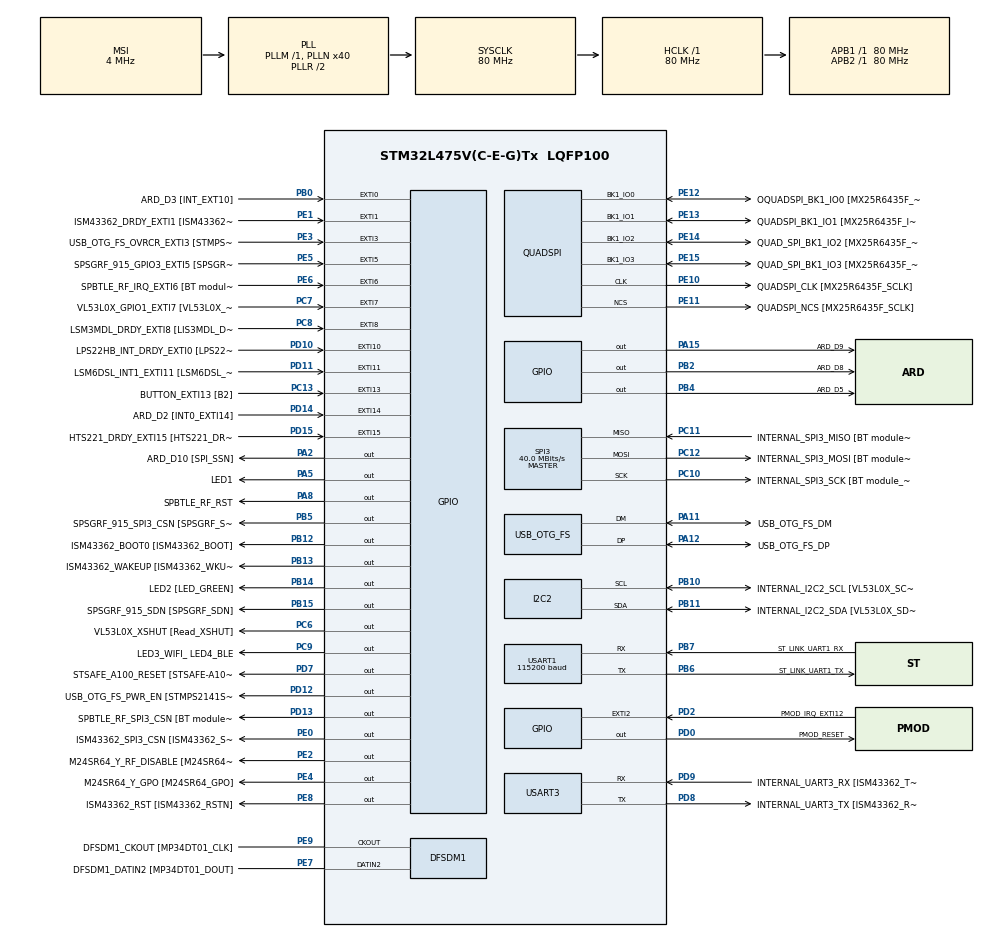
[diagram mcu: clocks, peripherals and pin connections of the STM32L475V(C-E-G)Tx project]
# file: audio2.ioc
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DFSDM1.Divider=17
DFSDM1.DmaMode_reg_FIL0=ENABLE
DFSDM1.FastMode_reg_FIL0=ENABLE
DFSDM1.Filter_regChannel_FIL0=DFSDM_CHANNEL_1
DFSDM1.Fosr_FIL0=128
DFSDM1.RightBitShift_CH1=0x05
DFSDM1.SincOrder_FIL0=DFSDM_FILTER_SINC4_ORDER
Dma.DFSDM1_FLT0.0.Direction=DMA_PERIPH_TO_MEMORY
Dma.DFSDM1_FLT0.0.Instance=DMA1_Channel4
Dma.DFSDM1_FLT0.0.MemDataAlignment=DMA_MDATAALIGN_HALFWORD
Dma.DFSDM1_FLT0.0.MemInc=DMA_MINC_ENABLE
Dma.DFSDM1_FLT0.0.Mode=DMA_CIRCULAR
Dma.DFSDM1_FLT0.0.PeriphDataAlignment=DMA_PDATAALIGN_HALFWORD
Dma.DFSDM1_FLT0.0.PeriphInc=DMA_PINC_DISABLE
Dma.DFSDM1_FLT0.0.Priority=DMA_PRIORITY_LOW
Dma.Request0=DFSDM1_FLT0
Dma.Request1=USART1_TX
Dma.USART1_TX.1.Direction=DMA_MEMORY_TO_PERIPH
Dma.USART1_TX.1.Instance=DMA2_Channel6
Dma.USART1_TX.1.MemDataAlignment=DMA_MDATAALIGN_BYTE
Dma.USART1_TX.1.MemInc=DMA_MINC_ENABLE
Dma.USART1_TX.1.Mode=DMA_NORMAL
Dma.USART1_TX.1.PeriphDataAlignment=DMA_PDATAALIGN_BYTE
Dma.USART1_TX.1.PeriphInc=DMA_PINC_DISABLE
Dma.USART1_TX.1.Priority=DMA_PRIORITY_LOW
I2C2.Timing=0x10909CEC
Mcu.Family=STM32L4
Mcu.Name=STM32L475V(C-E-G)Tx
Mcu.Package=LQFP100
NVIC.DMA1_Channel4_IRQn=true\:1\:0\:true\:false\:true\:false\:true\:true
NVIC.DMA2_Channel6_IRQn=true\:1\:0\:true\:false\:true\:false\:true\:true
NVIC.EXTI15_10_IRQn=true\:2\:0\:true\:false\:true\:true\:true\:true
NVIC.EXTI9_5_IRQn=true\:0\:0\:false\:false\:true\:true\:true\:true
NVIC.PriorityGroup=NVIC_PRIORITYGROUP_4
NVIC.TIM6_DAC_IRQn=true\:0\:0\:false\:false\:true\:true\:true\:true
NVIC.USART1_IRQn=true\:1\:0\:true\:false\:true\:true\:true\:true
PA0.GPIO_Label=ARD_D1 [UART4_TX]
PA0.Signal=UART4_TX
PA1.GPIO_Label=ARD_D0 [UART4_RX]
PA1.Signal=UART4_RX
PA10.GPIO_Label=USB_OTG_FS_ID
PA10.Signal=USB_OTG_FS_ID
PA11.GPIO_Label=USB_OTG_FS_DM
PA11.Mode=Device_Only
PA11.Signal=USB_OTG_FS_DM
PA12.GPIO_Label=USB_OTG_FS_DP
PA12.Mode=Device_Only
PA12.Signal=USB_OTG_FS_DP
PA13\ (JTMS-SWDIO).GPIO_Label=SYS_JTMS_SWDIO
PA13\ (JTMS-SWDIO).Mode=Serial_Wire
PA13\ (JTMS-SWDIO).Signal=SYS_JTMS-SWDIO
PA14\ (JTCK-SWCLK).GPIO_Label=SYS_JTCK_SWCLK
PA14\ (JTCK-SWCLK).Mode=Serial_Wire
PA14\ (JTCK-SWCLK).Signal=SYS_JTCK-SWCLK
PA15\ (JTDI).GPIO_Label=ARD_D9
PA15\ (JTDI).Signal=GPIO_Output
PA2.GPIO_Label=ARD_D10 [SPI_SSN]
PA2.Signal=GPIO_Output
PA3.GPIO_Label=ARD_D4
PA3.Signal=S_TIM2_CH4
PA4.GPIO_Label=ARD_D7
PA4.Signal=ADCx_IN9
PA5.GPIO_Label=LED1
PA5.Signal=GPIO_Output
PA6.GPIO_Label=ARD_D12 [SPI1_MISO]
PA6.Signal=SPI1_MISO
PA7.GPIO_Label=ARD_D11 [SPI1_MOSI]
PA7.Signal=SPI1_MOSI
PA8.GPIO_Label=SPBTLE_RF_RST
PA8.Signal=GPIO_Output
PA9.GPIO_Label=USB_OTG_FS_VBUS [STMPS2141STR_OUT]
PA9.Signal=USB_OTG_FS_VBUS
PB0.GPIO_Label=ARD_D3 [INT_EXT10]
PB0.Signal=GPXTI0
PB1.GPIO_Label=ARD_D6 [ADC1_IN6]
PB1.Signal=ADCx_IN16
PB10.GPIO_Label=INTERNAL_I2C2_SCL [VL53L0X_SCL]
PB10.GPIO_Pu=GPIO_PULLUP
PB10.Mode=I2C
PB10.Signal=I2C2_SCL
PB11.GPIO_Label=INTERNAL_I2C2_SDA [VL53L0X_SDA]
PB11.GPIO_Pu=GPIO_PULLUP
PB11.Mode=I2C
PB11.Signal=I2C2_SDA
PB12.GPIO_Label=ISM43362_BOOT0 [ISM43362_BOOT]
PB12.Signal=GPIO_Output
PB13.GPIO_Label=ISM43362_WAKEUP [ISM43362_WKUP]
PB13.Signal=GPIO_Output
PB14.GPIO_Label=LED2 [LED_GREEN]
PB14.Signal=GPIO_Output
PB15.GPIO_Label=SPSGRF_915_SDN [SPSGRF_SDN]
PB15.Signal=GPIO_Output
PB2.GPIO_Label=ARD_D8
PB2.Signal=GPIO_Output
PB3\ (JTDO-TRACESWO).GPIO_Label=SYS_JTD0_SWO
PB3\ (JTDO-TRACESWO).Signal=SYS_JTDO-SWO
PB4\ (NJTRST).GPIO_Label=ARD_D5
PB4\ (NJTRST).Signal=GPIO_Output
PB5.GPIO_Label=SPSGRF_915_SPI3_CSN [SPSGRF_SPI_CS]
PB5.PinState=GPIO_PIN_SET
PB5.Signal=GPIO_Output
PB6.GPIO_Label=ST_LINK_UART1_TX
PB6.Mode=Asynchronous
PB6.Signal=USART1_TX
PB7.GPIO_Label=ST_LINK_UART1_RX
PB7.Mode=Asynchronous
PB7.Signal=USART1_RX
PB8.GPIO_Label=ARD_D15 [I2C1_SCL]
PB8.Signal=I2C1_SCL
PB9.GPIO_Label=ARD_D14 [I2C1_SDA]
PB9.Signal=I2C1_SDA
PC0.GPIO_Label=ARD_A5 [ADC]
PC0.Signal=ADCx_IN1
PC1.GPIO_Label=ARD_A4 [ADC]
PC1.Signal=ADCx_IN2
PC10.GPIO_Label=INTERNAL_SPI3_SCK [BT module_SPI_SCLK] [ISM43362_SCK]
PC10.Mode=Full_Duplex_Master
PC10.Signal=SPI3_SCK
PC11.GPIO_Label=INTERNAL_SPI3_MISO [BT module_SPI_MISO] [ISM43362_MISO]
PC11.Mode=Full_Duplex_Master
PC11.Signal=SPI3_MISO
PC12.GPIO_Label=INTERNAL_SPI3_MOSI [BT module_SPI_MOSI] [ISM43362_MOSI]
PC12.Mode=Full_Duplex_Master
PC12.Signal=SPI3_MOSI
PC13.GPIO_Label=BUTTON_EXTI13 [B2]
PC13.GPIO_ModeDefaultEXTI=GPIO_MODE_IT_FALLING
PC13.Signal=GPXTI13
PC14-OSC32_IN\ (PC14).Mode=LSE-External-Oscillator
PC14-OSC32_IN\ (PC14).Signal=RCC_OSC32_IN
PC15-OSC32_OUT\ (PC15).Mode=LSE-External-Oscillator
PC15-OSC32_OUT\ (PC15).Signal=RCC_OSC32_OUT
PC2.GPIO_Label=ARD_A3 [ADC]
PC2.Signal=ADCx_IN3
PC3.GPIO_Label=ARD_A2 [ADC]
PC3.Signal=ADCx_IN4
PC4.GPIO_Label=ARD_A1 [ADC]
PC4.Signal=ADCx_IN13
PC5.GPIO_Label=ARD_A0 [ADC]
PC5.Signal=ADCx_IN14
PC6.GPIO_Label=VL53L0X_XSHUT [Read_XSHUT]
PC6.Signal=GPIO_Output
PC7.GPIO_Label=VL53L0X_GPIO1_EXTI7 [VL53L0X_GPIO1]
PC7.Signal=GPXTI7
PC8.GPIO_Label=LSM3MDL_DRDY_EXTI8 [LIS3MDL_DRDY]
PC8.Signal=GPXTI8
PC9.GPIO_Label=LED3_WIFI_ LED4_BLE
PC9.Signal=GPIO_Output
PD0.GPIO_Label=PMOD_RESET
PD0.Signal=GPIO_Output
PD1.GPIO_Label=PMOD_SPI2_SCK
PD1.Signal=SPI2_SCK
PD10.GPIO_Label=LPS22HB_INT_DRDY_EXTI0 [LPS22HB_INT_DRDY] 
PD10.Signal=GPXTI10
PD11.GPIO_Label=LSM6DSL_INT1_EXTI11 [LSM6DSL_INT1]
PD11.Signal=GPXTI11
PD12.GPIO_Label=USB_OTG_FS_PWR_EN [STMPS2141STR_EN]
PD12.Signal=GPIO_Output
PD13.GPIO_Label=SPBTLE_RF_SPI3_CSN [BT module_SPI_CS]
PD13.PinState=GPIO_PIN_SET
PD13.Signal=GPIO_Output
PD14.GPIO_Label=ARD_D2 [INT0_EXTI14]
PD14.Signal=GPXTI14
PD15.GPIO_Label=HTS221_DRDY_EXTI15 [HTS221_DRDY]
PD15.Signal=GPXTI15
PD2.GPIO_Label=PMOD_IRQ_EXTI12
PD2.Signal=GPXTI2
PD3.GPIO_Label=PMOD_UART2_CTS
PD3.Signal=USART2_CTS
PD4.GPIO_Label=PMOD_UART2_RTS
PD4.Signal=USART2_RTS
PD5.GPIO_Label=PMOD_UART2_TX
PD5.Signal=USART2_TX
PD6.GPIO_Label=PMOD_UART2_RX
PD6.Signal=USART2_RX
PD7.GPIO_Label=STSAFE_A100_RESET [STSAFE-A100_RESET]
PD7.Signal=GPIO_Output
PD8.GPIO_Label=INTERNAL_UART3_TX [ISM43362_RX]
PD8.Mode=Asynchronous
PD8.Signal=USART3_TX
PD9.GPIO_Label=INTERNAL_UART3_RX [ISM43362_TX]
PD9.Mode=Asynchronous
PD9.Signal=USART3_RX
PE0.GPIO_Label=ISM43362_SPI3_CSN [ISM43362_SSN]
PE0.PinState=GPIO_PIN_SET
PE0.Signal=GPIO_Output
PE1.GPIO_Label=ISM43362_DRDY_EXTI1 [ISM43362_DATARDY]
PE1.Signal=GPXTI1
PE10.GPIO_Label=QUADSPI_CLK [MX25R6435F_SCLK]
PE10.Mode=Single Bank
PE10.Signal=QUADSPI_CLK
PE11.GPIO_Label=QUADSPI_NCS [MX25R6435F_SCLK]
PE11.Mode=Single Bank
PE11.Signal=QUADSPI_NCS
PE12.GPIO_Label=OQUADSPI_BK1_IO0 [MX25R6435F_IO0]
PE12.Mode=Single Bank
PE12.Signal=QUADSPI_BK1_IO0
PE13.GPIO_Label=QUADSPI_BK1_IO1 [MX25R6435F_IO1]
PE13.Mode=Single Bank
PE13.Signal=QUADSPI_BK1_IO1
PE14.GPIO_Label=QUAD_SPI_BK1_IO2 [MX25R6435F_IO2]
PE14.Mode=Single Bank
PE14.Signal=QUADSPI_BK1_IO2
PE15.GPIO_Label=QUAD_SPI_BK1_IO3 [MX25R6435F_IO3]
PE15.Mode=Single Bank
PE15.Signal=QUADSPI_BK1_IO3
PE2.GPIO_Label=M24SR64_Y_RF_DISABLE [M24SR64_RFDIS]
PE2.Signal=GPIO_Output
PE3.GPIO_Label=USB_OTG_FS_OVRCR_EXTI3 [STMPS2141STR_FAULT]
PE3.Signal=GPXTI3
PE4.GPIO_Label=M24SR64_Y_GPO [M24SR64_GPO]
PE4.Signal=GPIO_Output
PE5.GPIO_Label=SPSGRF_915_GPIO3_EXTI5 [SPSGRF_GPIO_3]
PE5.Signal=GPXTI5
PE6.GPIO_Label=SPBTLE_RF_IRQ_EXTI6 [BT module_SPI_IRQ]
PE6.Signal=GPXTI6
PE7.GPIO_Label=DFSDM1_DATIN2 [MP34DT01_DOUT]
PE7.Signal=S_DATAIN2DFSDM1
PE8.GPIO_Label=ISM43362_RST [ISM43362_RSTN]
PE8.Signal=GPIO_Output
PE9.GPIO_Label=DFSDM1_CKOUT [MP34DT01_CLK]
PE9.Signal=S_CKOUTDFSDM1
ProjectManager.HeapSize=0x200
ProjectManager.StackSize=0x400
ProjectManager.TargetToolchain=CMake
QUADSPI.ClockPrescaler=2
QUADSPI.FifoThreshold=4
QUADSPI.FlashSize=23
QUADSPI.SampleShifting=QSPI_SAMPLE_SHIFTING_HALFCYCLE
RCC.ADCFreq_Value=48000000
RCC.AHBFreq_Value=80000000
RCC.APB1Freq_Value=80000000
RCC.APB1TimFreq_Value=80000000
RCC.APB2Freq_Value=80000000
RCC.APB2TimFreq_Value=80000000
RCC.CortexFreq_Value=80000000
RCC.HCLKFreq_Value=80000000
RCC.HSE_VALUE=8000000
RCC.HSI_VALUE=16000000
RCC.MSI_VALUE=4000000
RCC.PLLN=40
RCC.PLLSAI1N=24
RCC.SYSCLKFreq_VALUE=80000000
RCC.SYSCLKSource=RCC_SYSCLKSOURCE_PLLCLK
RCC.USBFreq_Value=48000000
RCC.VCOOutputFreq_Value=160000000
SH.ADCx_IN1.0=ADC1_IN1
SH.ADCx_IN13.0=ADC1_IN13
SH.ADCx_IN14.0=ADC1_IN14
SH.ADCx_IN16.0=ADC1_IN16
SH.ADCx_IN2.0=ADC1_IN2
SH.ADCx_IN3.0=ADC1_IN3
SH.ADCx_IN4.0=ADC1_IN4
SH.ADCx_IN9.0=ADC1_IN9
SH.S_CKOUTDFSDM1.0=DFSDM1_CKOUT,CKOUT
SH.S_CKOUTDFSDM1.1=DFSDM1_CKOUT,PDM_SPI_Input_from_ch12_and_Internal_Clock
SH.S_DATAIN2DFSDM1.0=DFSDM1_DATIN2,PDM_SPI_Input_from_ch12_and_Internal_Clock
SH.S_TIM2_CH4.0=TIM2_CH4
SPI3.CalculateBaudRate=40.0 MBits/s
SPI3.Direction=SPI_DIRECTION_2LINES
SPI3.Mode=SPI_MODE_MASTER
SPI3.VirtualType=VM_MASTER
TIM6.Period=19999
TIM6.Prescaler=7999
USART1.BaudRate=115200
USART1.VirtualMode-Asynchronous=VM_ASYNC
USART3.VirtualMode-Asynchronous=VM_ASYNC
USB_OTG_FS.VirtualMode=Device_Only
VP_TIM6_VS_ClockSourceINT.Mode=Enable_Timer
board=B-L475E-IOT01A1

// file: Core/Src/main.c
/* USER CODE BEGIN Header */
/**
 ******************************************************************************
 * @file           : main.c
 * @brief          : Main program body
 ******************************************************************************
 * @attention
 *
 * Copyright (c) 2024 STMicroelectronics.
 * All rights reserved.
 *
 * This software is licensed under terms that can be found in the LICENSE file
 * in the root directory of this software component.
 * If no LICENSE file comes with this software, it is provided AS-IS.
 *
 ******************************************************************************
 */
/* USER CODE END Header */
#include "main.h"
#include "dfsdm.h"
#include "dma.h"
#include "i2c.h"
#include "quadspi.h"
#include "spi.h"
#include "tim.h"
#include "usart.h"
#include "usb_otg.h"
#include "gpio.h"

/* USER CODE BEGIN PD */
#define SAMPLE_FREQ 8000
#define BYTE_PER_SAMPLE 2
#define MICROPHEN_NUMBER 1
#define FRAME_NUMBER 1
// 16bit sample resolution
#define BUF_LENGTH (SAMPLE_FREQ / 1000 * MICROPHEN_NUMBER * FRAME_NUMBER)
/* USER CODE END PD */

/* USER CODE BEGIN PV */
int16_t Buf_Mic0[BUF_LENGTH] = {0x12};
static uint16_t state = 1;
/* USER CODE END PV */

void SystemClock_Config(void);

int main(void)
{

  /* MCU Configuration--------------------------------------------------------*/

  /* Reset of all peripherals, Initializes the Flash interface and the Systick. */
  HAL_Init();

  /* Configure the system clock */
  SystemClock_Config();

  /* Initialize all configured peripherals */
  MX_GPIO_Init();
  MX_DMA_Init();
  MX_DFSDM1_Init();
  MX_I2C2_Init();
  MX_QUADSPI_Init();
  MX_SPI3_Init();
  MX_USART1_UART_Init();
  MX_USART3_UART_Init();
  MX_USB_OTG_FS_PCD_Init();
  MX_TIM6_Init();
  /* USER CODE BEGIN 2 */
  HAL_TIM_Base_Start_IT(&htim6);
  HAL_GPIO_WritePin(LED1_GPIO_Port, LED1_Pin, GPIO_PIN_SET);
  /* USER CODE END 2 */

  /* Infinite loop */
  /* USER CODE BEGIN WHILE */
  while (1)
  {
    if (HAL_GPIO_ReadPin(LED3_WIFI__LED4_BLE_GPIO_Port, LED3_WIFI__LED4_BLE_Pin) == GPIO_PIN_SET && state == 1)
    {
      state = 0;
      HAL_UART_Transmit_DMA(&huart1, (uint8_t *)"high", 4);
      __HAL_UART_GET_FLAG(&huart1, UART_FLAG_TC);
      if (HAL_DFSDM_FilterRegularMsbStart_DMA(&hdfsdm1_filter0, Buf_Mic0, BUF_LENGTH) == HAL_ERROR)
      {
        Error_Handler();
      }
    }
    else if (HAL_GPIO_ReadPin(LED3_WIFI__LED4_BLE_GPIO_Port, LED3_WIFI__LED4_BLE_Pin) == GPIO_PIN_RESET && state == 0)
    {
      state = 1;
      HAL_UART_Transmit_DMA(&huart1, (uint8_t *)"low", 3);
      HAL_DFSDM_FilterRegularStop_DMA(&hdfsdm1_filter0);
      HAL_GPIO_WritePin(LED1_GPIO_Port, LED1_Pin, GPIO_PIN_RESET);
      HAL_GPIO_WritePin(LED2_GPIO_Port, LED2_Pin, GPIO_PIN_RESET);
    }
    /* USER CODE END WHILE */

  }
}

void SystemClock_Config(void)
{
  RCC_OscInitTypeDef RCC_OscInitStruct = {0};
  RCC_ClkInitTypeDef RCC_ClkInitStruct = {0};

  /** Configure the main internal regulator output voltage
   */
  if (HAL_PWREx_ControlVoltageScaling(PWR_REGULATOR_VOLTAGE_SCALE1) != HAL_OK)
  {
    Error_Handler();
  }

  /** Configure LSE Drive Capability
   */
  HAL_PWR_EnableBkUpAccess();
  __HAL_RCC_LSEDRIVE_CONFIG(RCC_LSEDRIVE_LOW);

  /** Initializes the RCC Oscillators according to the specified parameters
   * in the RCC_OscInitTypeDef structure.
   */
  RCC_OscInitStruct.OscillatorType = RCC_OSCILLATORTYPE_LSE | RCC_OSCILLATORTYPE_MSI;
  RCC_OscInitStruct.LSEState = RCC_LSE_ON;
  RCC_OscInitStruct.MSIState = RCC_MSI_ON;
  RCC_OscInitStruct.MSICalibrationValue = 0;
  RCC_OscInitStruct.MSIClockRange = RCC_MSIRANGE_6;
  RCC_OscInitStruct.PLL.PLLState = RCC_PLL_ON;
  RCC_OscInitStruct.PLL.PLLSource = RCC_PLLSOURCE_MSI;
  RCC_OscInitStruct.PLL.PLLM = 1;
  RCC_OscInitStruct.PLL.PLLN = 40;
  RCC_OscInitStruct.PLL.PLLP = RCC_PLLP_DIV7;
  RCC_OscInitStruct.PLL.PLLQ = RCC_PLLQ_DIV2;
  RCC_OscInitStruct.PLL.PLLR = RCC_PLLR_DIV2;
  if (HAL_RCC_OscConfig(&RCC_OscInitStruct) != HAL_OK)
  {
    Error_Handler();
  }

  /** Initializes the CPU, AHB and APB buses clocks
   */
  RCC_ClkInitStruct.ClockType = RCC_CLOCKTYPE_HCLK | RCC_CLOCKTYPE_SYSCLK | RCC_CLOCKTYPE_PCLK1 | RCC_CLOCKTYPE_PCLK2;
  RCC_ClkInitStruct.SYSCLKSource = RCC_SYSCLKSOURCE_PLLCLK;
  RCC_ClkInitStruct.AHBCLKDivider = RCC_SYSCLK_DIV1;
  RCC_ClkInitStruct.APB1CLKDivider = RCC_HCLK_DIV1;
  RCC_ClkInitStruct.APB2CLKDivider = RCC_HCLK_DIV1;

  if (HAL_RCC_ClockConfig(&RCC_ClkInitStruct, FLASH_LATENCY_4) != HAL_OK)
  {
    Error_Handler();
  }

  /** Enable MSI Auto calibration
   */
  HAL_RCCEx_EnableMSIPLLMode();
}

/* USER CODE BEGIN 4 */

void HAL_DFSDM_FilterRegConvHalfCpltCallback(DFSDM_Filter_HandleTypeDef *hdfsdm_filter)
{
  // HAL_UART_Transmit_DMA(&huart1, (uint8_t *)Buf_Mic0, BUF_LENGTH);
  HAL_GPIO_TogglePin(LED2_GPIO_Port, LED2_Pin);
}

void HAL_DFSDM_FilterRegConvCpltCallback(DFSDM_Filter_HandleTypeDef *hdfsdm_filter)
{
  // HAL_UART_Transmit_DMA(&huart1, (uint8_t *)(Buf_Mic0 + BUF_LENGTH / 2), BUF_LENGTH);
  HAL_GPIO_TogglePin(LED1_GPIO_Port, LED1_Pin);
}
void HAL_TIM_PeriodElapsedCallback(TIM_HandleTypeDef *htim)
{
  if (htim->Instance == htim6.Instance)
  {
    HAL_GPIO_TogglePin(LED3_WIFI__LED4_BLE_GPIO_Port, LED3_WIFI__LED4_BLE_Pin);
  }
}
/* USER CODE END 4 */

void Error_Handler(void)
{
  __disable_irq();
  while (1)
  {
  }
}
